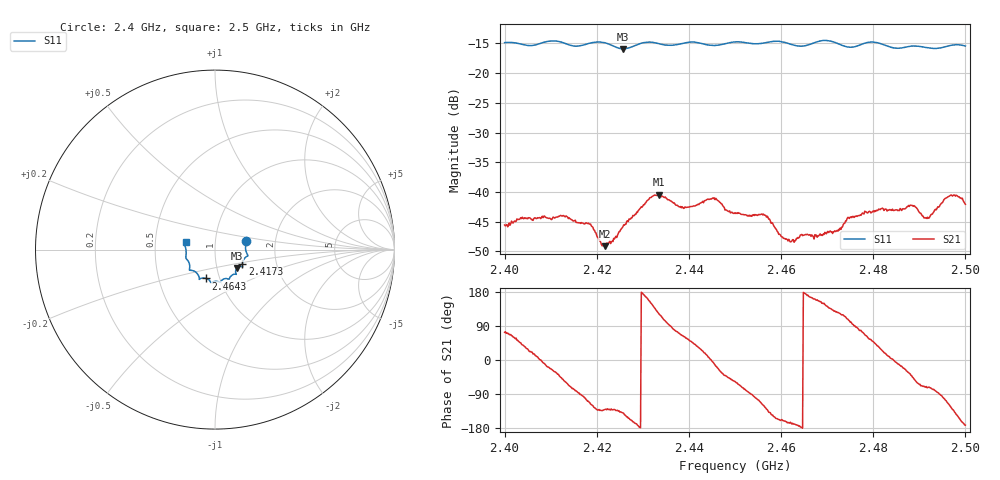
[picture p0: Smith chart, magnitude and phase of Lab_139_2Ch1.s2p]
# Hz S RI R 50
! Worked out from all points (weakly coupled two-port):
!   601 points, 2.4 GHz to 2.5 GHz, reference 50 ohm
!   highest |S21| = -40.46 dB at 2.4335 GHz (marker M1); lowest = -49.1 dB at 2.4218 GHz (marker M2)
!   lowest |S11| = -15.9 dB at 2.4257 GHz (marker M3), VSWR 1.38, Z = 62.4 - j13.1 ohm
!   |S11| at or under -10 dB: start of sweep to end of sweep
!   S12 and S22 are empty: the file has one direction only
!   S11 on the Smith chart (normalised r, x): 2.4 GHz: 1.41, +0.14; 2.4173 GHz: 1.34, -0.23; 2.4643 GHz: 0.86, -0.28; 2.5 GHz: 0.72, +0.06
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2.4e9  0.1735 0.049  0.00153 0.00506  0 0  0 0
2.412333e9  0.1782 -0.0376  0.0043 -0.0046  0 0  0 0
2.416667e9  0.1531 -0.0747  -0.000215 -0.00553  0 0  0 0
2.417333e9  0.1523 -0.0821  -0.000897 -0.0053  0 0  0 0
2.421833e9  0.1524 -0.0951  -0.00228 -0.00267  0 0  0 0
2.425667e9  0.1227 -0.1025  -0.00389 -0.00329  0 0  0 0
2.433333e9  0.1129 -0.1365  -0.00532 0.00783  0 0  0 0
2.4335e9  0.1121 -0.1365  -0.00498 0.00807  0 0  0 0
2.438833e9  0.0811 -0.159  0.00344 0.00641  0 0  0 0
2.4455e9  0.0511 -0.1627  0.00879 -0.00157  0 0  0 0
2.45e9  0.0293 -0.1806  0.00367 -0.0056  0 0  0 0
2.456667e9  -0.0112 -0.1799  -0.00378 -0.00509  0 0  0 0
2.461833e9  -0.0292 -0.1738  -0.00379 -0.000903  0 0  0 0
2.464333e9  -0.0501 -0.1607  -0.00436 -0.000195  0 0  0 0
2.466667e9  -0.0761 -0.1595  -0.0042 0.0012  0 0  0 0
2.4725e9  -0.0892 -0.1517  -0.00274 0.00401  0 0  0 0
2.475e9  -0.1062 -0.1263  -0.00108 0.00606  0 0  0 0
2.483333e9  -0.1408 -0.0901  0.00691 0.00116  0 0  0 0
2.4885e9  -0.1616 -0.048  0.00546 -0.00545  0 0  0 0
2.491667e9  -0.1612 -0.0284  0.00175 -0.00572  0 0  0 0
2.4965e9  -0.1683 0.0231  -0.00437 -0.00813  0 0  0 0
2.5e9  -0.1636 0.0418  -0.0078 -0.0011  0 0  0 0
